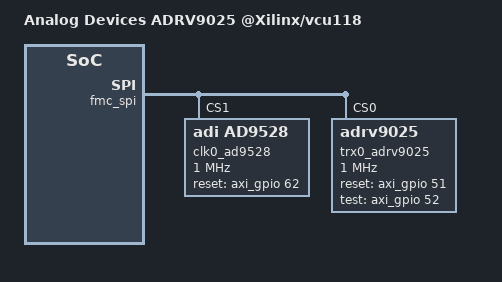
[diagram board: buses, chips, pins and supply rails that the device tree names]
// SPDX-License-Identifier: GPL-2.0
/*
 * Analog Devices adrv9025
 * https://wiki.analog.com/resources/eval/user-guides/adrv9025
 * https://wiki.analog.com/resources/tools-software/linux-drivers/iio-transceiver/adrv9025
 *
 * hdl_project: <adrv9026/vcu118>
 * board_revision: <>
 *
 * Copyright (C) 2024 Analog Devices Inc.
 */
/dts-v1/;

#include "vcu118.dtsi"
#include <dt-bindings/interrupt-controller/irq.h>
#include <dt-bindings/iio/adc/adi,adrv9025.h>
#include <dt-bindings/iio/frequency/ad9528.h>
#include <dt-bindings/gpio/gpio.h>
#include <dt-bindings/jesd204/adxcvr.h>

#define fmc_spi axi_spi

/ {
	model = "Analog Devices ADRV9025 @Xilinx/vcu118";
};

&axi_intc {
	xlnx,kind-of-intr = <0xffff05f0>;
};

&axi_ethernet {
	local-mac-address = [00 0a 35 00 90 81];
};

&amba_pl {

	rx_dma: dma@7c400000 {
		compatible = "adi,axi-dmac-1.00.a";
		reg = <0x7c400000 0x10000>;
		#dma-cells = <1>;
		#clock-cells = <0>;
		interrupt-parent = <&axi_intc>;
		interrupts = <13 2>;
		clocks = <&clk_bus_0>;
	};

	tx_dma: dma@7c420000  {
		compatible = "adi,axi-dmac-1.00.a";
		reg = <0x7c420000 0x10000>;
		#dma-cells = <1>;
		#clock-cells = <0>;
		interrupt-parent = <&axi_intc>;
		interrupts = <12 2>;
		clocks = <&clk_bus_0>;
	};

	axi_rx_clkgen: axi-clkgen@43c10000 {
		compatible = "adi,axi-clkgen-2.00.a";
		reg = <0x43c10000 0x10000>;
		#clock-cells = <0>;
		clocks = <&clk0_ad9528 3>, <&clk_bus_0>;
		clock-names = "clkin1", "s_axi_aclk";
		clock-output-names = "axi_rx_clkgen";
	};

	axi_tx_clkgen: axi-clkgen@43c00000 {
		compatible = "adi,axi-clkgen-2.00.a";
		reg = <0x43c00000 0x10000>;
		#clock-cells = <0>;
		clocks = <&clk0_ad9528 3>, <&clk_bus_0>;
		clock-names = "clkin1", "s_axi_aclk";
		clock-output-names = "axi_tx_clkgen";
	};

	axi_adrv9025_core_rx: axi-adrv9025-rx-hpc@44a00000 {
		compatible = "adi,axi-adc-10.0.a";
		reg = <0x44a00000 0x8000>;
		dmas = <&rx_dma 0>;
		dma-names = "rx";
		spibus-connected = <&trx0_adrv9025>;
	};

	axi_adrv9025_core_tx: axi-adrv9025-tx-hpc@44a04000 {
		compatible = "adi,axi-adrv9025-tx-1.0";
		reg = <0x44a04000 0x4000>;
		dmas = <&tx_dma 0>;
		dma-names = "tx";
		clocks = <&trx0_adrv9025 1>;
		clock-names = "sampl_clk";
		spibus-connected = <&trx0_adrv9025>;

		plddrbypass-gpios = <&axi_gpio 63 0>;

		jesd204-device;
		#jesd204-cells = <2>;
		jesd204-inputs = <&axi_adrv9025_tx_jesd 0 DEFRAMER0_LINK_TX>;
	};

	axi_adrv9025_rx_jesd: axi-jesd204-rx@44aa0000 {
		compatible = "adi,axi-jesd204-rx-1.0";
		reg = <0x44aa0000 0x1000>;

		interrupt-parent = <&axi_intc>;
		interrupts = <8 IRQ_TYPE_LEVEL_HIGH>;

		clocks = <&clk_bus_0>, <&axi_rx_clkgen>, <&axi_adrv9025_adxcvr_rx 0>;
		clock-names = "s_axi_aclk", "device_clk", "lane_clk";

		#clock-cells = <0>;
		clock-output-names = "jesd_rx_lane_clk";

		jesd204-device;
		#jesd204-cells = <2>;
		jesd204-inputs = <&axi_adrv9025_adxcvr_rx 0 FRAMER0_LINK_RX>;
	};

	axi_adrv9025_tx_jesd: axi-jesd204-tx@44a90000 {
		compatible = "adi,axi-jesd204-tx-1.0";
		reg = <0x44a90000 0x1000>;

		interrupt-parent = <&axi_intc>;
		interrupts = <7 IRQ_TYPE_LEVEL_HIGH>;
		clocks = <&clk_bus_0>, <&axi_tx_clkgen>, <&axi_adrv9025_adxcvr_tx 0>;
		clock-names = "s_axi_aclk", "device_clk", "lane_clk";

		#clock-cells = <0>;
		clock-output-names = "jesd_tx_lane_clk";

		jesd204-device;
		#jesd204-cells = <2>;
		jesd204-inputs = <&axi_adrv9025_adxcvr_tx 0 DEFRAMER0_LINK_TX>;
	};

	axi_adrv9025_adxcvr_rx: axi-adxcvr-rx@44a60000 {
		#address-cells = <1>;
		#size-cells = <0>;
		compatible = "adi,axi-adxcvr-1.0";
		reg = <0x44a60000 0x1000>;

		clocks = <&clk0_ad9528 13>;
		clock-names = "conv";

		#clock-cells = <1>;
		clock-output-names = "rx_gt_clk", "rx_out_clk";

		adi,sys-clk-select = <XCVR_QPLL>;
		adi,out-clk-select = <XCVR_REFCLK>;
		adi,use-lpm-enable;

		jesd204-device;
		#jesd204-cells = <2>;
		jesd204-inputs =  <&clk0_ad9528 0 FRAMER0_LINK_RX>;
	};

	axi_adrv9025_adxcvr_tx: axi-adxcvr-tx@44a80000 {
		#address-cells = <1>;
		#size-cells = <0>;
		compatible = "adi,axi-adxcvr-1.0";
		reg = <0x44a80000 0x1000>;

		clocks = <&clk0_ad9528 13>;
		clock-names = "conv";

		#clock-cells = <1>;
		clock-output-names = "tx_gt_clk", "tx_out_clk";

		adi,sys-clk-select = <XCVR_QPLL>;
		adi,out-clk-select = <XCVR_REFCLK>;

		jesd204-device;
		#jesd204-cells = <2>;
		jesd204-inputs =  <&clk0_ad9528 0 DEFRAMER0_LINK_TX>;
	};

	axi_sysid_0: axi-sysid-0@45000000 {
		compatible = "adi,axi-sysid-1.00.a";
		reg = <0x45000000 0x10000>;
	};
};

&fmc_spi {
	status = "okay";

	clk0_ad9528: ad9528-1@1 {
		compatible = "adi,ad9528";
		reg = <1>;

		#address-cells = <1>;
		#size-cells = <0>;

		spi-max-frequency = <1000000>;
		//adi,spi-3wire-enable;
		reset-gpios = <&axi_gpio 62 0>;

		clock-output-names = "ad9528-1_out0", "ad9528-1_out1", "ad9528-1_out2",
			"ad9528-1_out3", "ad9528-1_out4", "ad9528-1_out5", "ad9528-1_out6",
			"ad9528-1_out7", "ad9528-1_out8", "ad9528-1_out9", "ad9528-1_out10",
			"ad9528-1_out11", "ad9528-1_out12", "ad9528-1_out13";
		#clock-cells = <1>;

		jesd204-device;
		#jesd204-cells = <2>;
		jesd204-sysref-provider;

		adi,vcxo-freq = <122880000>;

		adi,refa-enable;
		adi,refa-diff-rcv-enable;
		adi,refa-r-div = <1>;

		/* PLL1 config */
		adi,pll1-feedback-div = <4>;
		adi,pll1-charge-pump-current-nA = <5000>;

		/* PLL2 config */
		adi,pll2-vco-div-m1 = <3>; /* use 5 for 184320000 output device clock */
		adi,pll2-n2-div = <10>; /* N / M1 */
		adi,pll2-r1-div = <1>;
		adi,pll2-charge-pump-current-nA = <805000>;

		/* SYSREF config */
		adi,sysref-src = <SYSREF_SRC_INTERNAL>;
		adi,sysref-pattern-mode = <SYSREF_PATTERN_NSHOT>;
		adi,sysref-k-div = <512>;
		adi,sysref-nshot-mode = <SYSREF_NSHOT_8_PULSES>;
		adi,jesd204-desired-sysref-frequency-hz = <3840000>;

		adi,rpole2 = <RPOLE2_900_OHM>;
		adi,rzero = <RZERO_1850_OHM>;
		adi,cpole1 = <CPOLE1_16_PF>;

		adi,status-mon-pin0-function-select = <1>; /* PLL1 & PLL2 Locked */
		adi,status-mon-pin1-function-select = <7>; /* REFA Correct */

		ad9528_0_c0: channel@0 {
			reg = <0>;
			adi,extended-name = "DEV_SYSREF";
			adi,driver-mode = <DRIVER_MODE_LVDS>;
			adi,divider-phase = <0>;
			adi,channel-divider = <5>;
			adi,signal-source = <SOURCE_SYSREF_VCO>;
		};

		ad9528_0_c1: channel@1 {
			reg = <1>;
			adi,extended-name = "DEV_CLK";
			adi,driver-mode = <DRIVER_MODE_LVDS>;
			adi,divider-phase = <0>;
			adi,channel-divider = <5>;
			adi,signal-source = <SOURCE_VCO>;
		};

		ad9528_0_c3: channel@3 {
			reg = <3>;
			adi,extended-name = "CORE_CLK";
			adi,driver-mode = <DRIVER_MODE_LVDS>;
			adi,divider-phase = <0>;
			adi,channel-divider = <5>;
			adi,signal-source = <SOURCE_VCO>;
		};

		ad9528_0_c12: channel@12 {
			reg = <12>;
			adi,extended-name = "FMC_SYSREF";
			adi,driver-mode = <DRIVER_MODE_LVDS>;
			adi,divider-phase = <0>;
			adi,channel-divider = <5>;
			adi,signal-source = <SOURCE_SYSREF_VCO>;
		};

		ad9528_0_c13: channel@13 {
			reg = <13>;
			adi,extended-name = "FMC_CLK";
			adi,driver-mode = <DRIVER_MODE_LVDS>;
			adi,divider-phase = <0>;
			adi,channel-divider = <5>;
			adi,signal-source = <SOURCE_VCO>;
		};
	};

	trx0_adrv9025: adrv9025-phy@0 {
		compatible = "adrv9025";
		reg = <0>;

		#address-cells = <1>;
		#size-cells = <0>;

		/* SPI Setup */
		spi-max-frequency = <1000000>;

		interrupt-parent = <&axi_gpio>;
		reset-gpios = <&axi_gpio 51 0>;
		test-gpios = <&axi_gpio 52 0>;

		/* Clocks */
		clocks = <&clk0_ad9528 1>;

		clock-names = "dev_clk";

		clock-output-names = "rx_sampl_clk", "tx_sampl_clk";
		#clock-cells = <1>;

		jesd204-ignore-errors;

		jesd204-device;
		#jesd204-cells = <2>;
		jesd204-top-device = <0>; /* This is the TOP device */
		jesd204-link-ids = <DEFRAMER0_LINK_TX FRAMER0_LINK_RX>;

		jesd204-inputs =
			<&axi_adrv9025_rx_jesd 0 FRAMER0_LINK_RX>,
			<&axi_adrv9025_core_tx 0 DEFRAMER0_LINK_TX>;

		adi,device-profile-name = "ActiveUseCase.profile";
		adi,init-profile-name = "ActiveUtilInit.profile";
		adi,arm-firmware-name = "ADRV9025_FW.bin;ADRV9025_DPDCORE_FW.bin";
		adi,stream-firmware-name = "stream_image_6E3E00EFB74FE7D465FA88A171B81B8F.bin";
		adi,rx-gaintable-names = "ADRV9025_RxGainTable.csv";
		adi,rx-gaintable-channel-masks = <0xFF>;
		adi,tx-attntable-names = "ADRV9025_TxAttenTable.csv";
		adi,tx-attntable-channel-masks = <0x0F>;
	};
};
